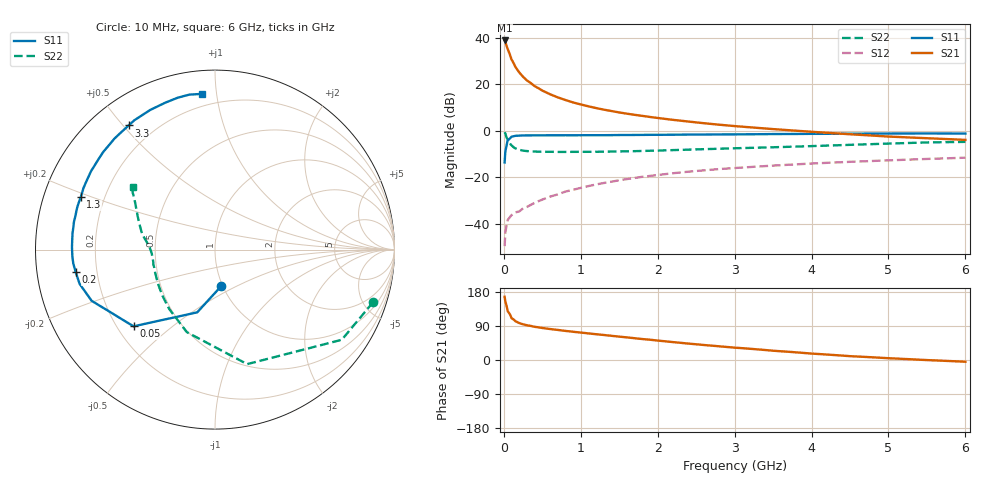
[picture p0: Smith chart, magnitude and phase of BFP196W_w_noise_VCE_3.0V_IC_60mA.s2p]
! (c) 2017  Infineon Technologies AG, Munich
! Infineon Technologies  Discrete & RF Semiconductors
! BFP196W
! VCE =  3.0 V,  IC =  60 mA
! Common Emitter S-Parameters:  Jan 2017
# GHz  S  MA  R  50
!  f  S11  S21  S12  S22
! GHz  MAG  ANG  MAG  ANG  MAG  ANG  MAG  ANG
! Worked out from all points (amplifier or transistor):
!   77 points, 10 MHz to 6 GHz, reference 50 ohm
!   highest |S21| = 38.8 dB at 10 MHz (marker M1)
!   |S21| within 3 dB of that: start of sweep to 42.39 MHz
!   unconditionally stable (mu >= 1): 605.8 MHz to 3.342 GHz
!   at 130 MHz: K = 0.49, MSG = 32.2 dB, |S12| = -35.5 dB
!   at 2.2 GHz: K = 1.04, MAG = 10.3 dB, |S12| = -18.3 dB
!   at 6 GHz: K = 0.96, MSG = 3.8 dB, |S12| = -11.6 dB
!   lowest NFmin = 1.47 dB at 450 MHz
!   S11 on the Smith chart (normalised r, x): 10 MHz: 0.98, -0.42; 50 MHz: 0.27, -0.37; 200 MHz: 0.12, -0.08; 1.3 GHz: 0.11, +0.19; 3.3 GHz: 0.11, +0.52; 6 GHz: 0.13, +0.91
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0.01  0.2078 -80.8  87.35 166.9  0.0033 76.0  0.9281 -18.4
0.02  0.3631 -105.8  81.14 153.8  0.0066 71.2  0.8669 -35.4
0.05  0.6234 -136.7  56.92 128.6  0.012 48.0  0.6628 -74.3
0.1  0.7443 -157.5  34 110.4  0.0154 42.0  0.4858 -108.9
0.15  0.7782 -165.8  23.63 102.5  0.0176 43.0  0.4176 -127.7
0.2  0.7862 -170.9  17.96 97.5  0.0184 47.1  0.3896 -138.7
0.25  0.7933 -174.4  14.44 94.1  0.0215 49.4  0.3741 -146.5
0.3  0.7955 -177.1  12.09 91.7  0.023 51.7  0.3657 -151.6
0.4  0.7969 179.1  9.122 87.6  0.0281 57.8  0.3574 -158.8
0.5  0.7974 176.0  7.303 84.5  0.0331 60.0  0.3531 -163.3
0.6  0.799 173.4  6.106 81.8  0.0383 61.3  0.3532 -166.6
0.7  0.7989 171.1  5.227 79.4  0.0428 63.0  0.3504 -169.1
0.9  0.7997 166.7  4.064 74.5  0.0538 64.1  0.3516 -172.5
1.1  0.803 162.7  3.35 70.2  0.0646 64.5  0.3523 -175.3
1.3  0.8029 158.7  2.841 66.0  0.0753 63.7  0.3547 -177.6
1.6  0.8103 153.1  2.329 59.6  0.0915 62.0  0.3616 179.2
2.1  0.8193 143.9  1.797 49.3  0.1169 57.9  0.3792 174.4
3.1  0.8379 127.8  1.223 31.2  0.1618 48.4  0.4244 165.6
3.3  0.8425 124.8  1.152 28.0  0.1699 46.6  0.4327 163.7
4.1  0.8582 113.7  0.927 15.7  0.2008 39.5  0.4733 155.9
5.1  0.8717 102.9  0.738 3.8  0.2341 31.3  0.5357 147.3
6  0.8705 94.6  0.636 -4.6  0.2633 24.2  0.5767 142.7
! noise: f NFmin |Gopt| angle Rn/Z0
0.45  1.47  0.52  -176  0.06
0.9  1.59  0.56  -170  0.07
1.9  2.42  0.69  -149  0.17
2.4  2.81  0.73  -144  0.27
